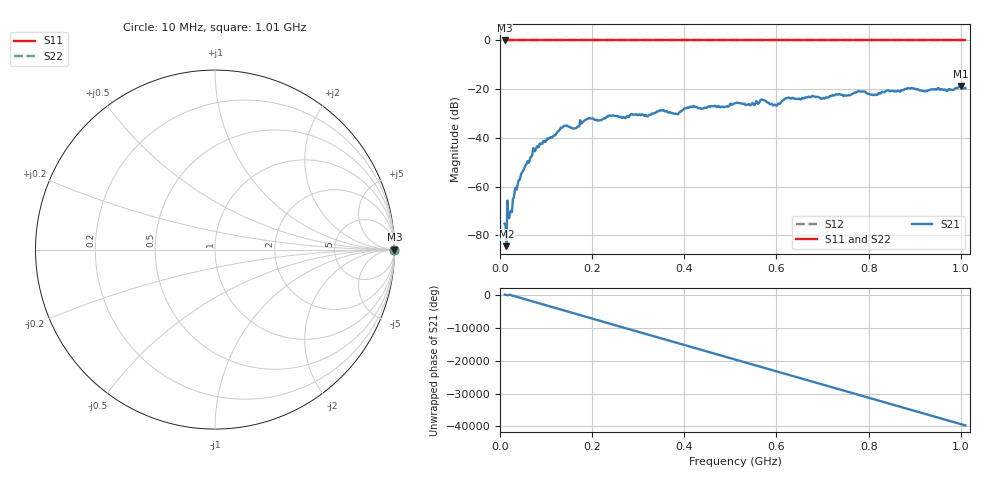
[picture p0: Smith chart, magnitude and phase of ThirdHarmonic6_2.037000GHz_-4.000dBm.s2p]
! 8/17/2025 12:25:55 AM
! C:\ANRITSUVNA\TEMP\TEMP.S2P
! CHANNEL.1
! TR.MEASUREMENT
! RAW.DATA
! RF.CORRECTION.OFF
! AVERAGING.OFF
! IF.BANDWIDTH: 5KHZ
! SWEEPTYPE:  FREQ.SWEEP(Linear)
! Reference Plane Port Info
! PORT:  PORT1  PORT2
! DISTANCE:  0  m  0  m
! TIME:  0  s  0  s
! PHASE.OFFSET:  0  deg.  0  deg.
! LOSS:  0  dB  0  dB
! REF.LOSS:  0  dB  0  dB
! REF.FREQ:  0  Hz  0  Hz
! Power Info
! POWER:  -20  dBm  -20  dBm
! EFF.POWER:  -20  dBm  -20  dBm
! SOURCE.ATTEN:  0  dB  0  dB
! TEST.ATTEN:  0  dB  0  dB
# GHZ S RI R 50.0
! FREQ.GHZ  S11RE  S11IM  S21RE  S21IM  S12RE  S12IM  S22RE  S22IM
!; PortSelection: Port_12
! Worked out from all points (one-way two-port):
!   501 points, 10 MHz to 1.01 GHz, reference 50 ohm
!   highest |S21| = -18.74 dB at 1 GHz (marker M1); lowest = -84.5 dB at 14 MHz (marker M2)
!   lowest |S11| = 0.0 dB at 10 MHz (marker M3)
!   |S11| at or under -10 dB: nowhere
!   |S22| runs from 0.0 to 0.0 dB; largest |S21 - S12| = 1.1
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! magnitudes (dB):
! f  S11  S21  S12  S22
! 10 MHz  0.0  -75.3  0.0  0.0
! 14 MHz  0.0  -84.5  0.0  0.0
! 20 MHz  0.0  -73.0  0.0  0.0
! 22 MHz  0.0  -70.8  0.0  0.0
! 32 MHz  0.0  -61.5  0.0  0.0
! 44 MHz  0.0  -56.4  0.0  0.0
! 76 MHz  0.0  -45.5  0.0  0.0
! 136 MHz  0.0  -35.6  0.0  0.0
! 162 MHz  0.0  -36.1  0.0  0.0
! 178 MHz  0.0  -33.9  0.0  0.0
! 344 MHz  0.0  -29.1  0.0  0.0
! 382 MHz  0.0  -30.1  0.0  0.0
! 416 MHz  0.0  -27.3  0.0  0.0
! 510 MHz  0.0  -25.8  0.0  0.0
! 570 MHz  0.0  -24.4  0.0  0.0
! 598 MHz  0.0  -26.5  0.0  0.0
! 624 MHz  0.0  -23.7  0.0  0.0
! 678 MHz  0.0  -22.8  0.0  0.0
! 814 MHz  0.0  -22.3  0.0  0.0
! 844 MHz  0.0  -20.6  0.0  0.0
! 1 GHz  0.0  -18.7  0.0  0.0
! 1.01 GHz  0.0  -19.5  0.0  0.0
